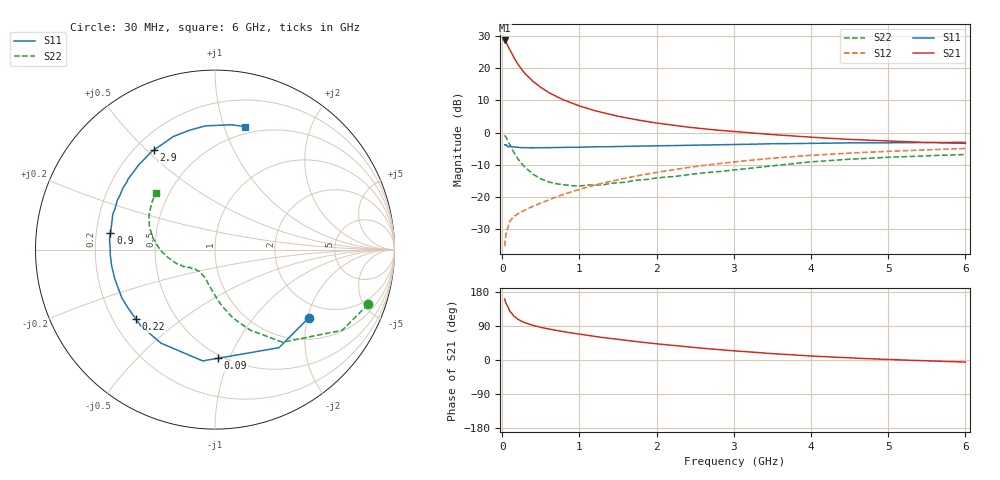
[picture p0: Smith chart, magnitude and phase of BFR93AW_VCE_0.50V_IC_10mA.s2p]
! Infineon Technologies  Discrete & RF Semiconductors
! BFR93AW
! VCE = 0.50 V,  IC =  10 mA
! Common Emitter S-Parameters:  Nov 2015
# GHz  S  MA  R  50
!  f  S11  S21  S12  S22
! GHz  MAG  ANG  MAG  ANG  MAG  ANG  MAG  ANG
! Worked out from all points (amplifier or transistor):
!   206 points, 30 MHz to 6 GHz, reference 50 ohm
!   highest |S21| = 28.5 dB at 30 MHz (marker M1)
!   |S21| within 3 dB of that: start of sweep to 101.7 MHz
!   unconditionally stable (mu >= 1): 640.6 MHz to 3.153 GHz; 5.615 GHz to end of sweep
!   at 200 MHz: K = 0.51, MSG = 23.2 dB, |S12| = -25.2 dB
!   at 1.56 GHz: K = 1.10, MAG = 7.6 dB, |S12| = -14.3 dB
!   at 6 GHz: K = 1.00, MAG = 0.5 dB, |S12| = -4.9 dB
!   S11 on the Smith chart (normalised r, x): 30 MHz: 1.57, -2.04; 90 MHz: 0.48, -0.91; 220 MHz: 0.29, -0.35; 900 MHz: 0.26, +0.08; 2.9 GHz: 0.27, +0.53; 6 GHz: 0.43, +1.17
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0.03  0.646 -36.0  26.64 160.9  0.0174 71.5  0.9062 -19.7
0.05  0.6524 -56.9  24.87 148.4  0.0274 64.8  0.839 -32.4
0.09  0.6056 -88.4  19.95 132.8  0.0394 54.1  0.6699 -48.6
0.1  0.6239 -96.3  19.02 127.8  0.0426 52.4  0.6387 -53.9
0.15  0.6019 -120.0  14.46 115.5  0.0501 46.8  0.4894 -66.4
0.2  0.5927 -134.3  11.55 107.6  0.055 45.0  0.3951 -75.2
0.22  0.5866 -138.7  10.71 105.6  0.0568 45.1  0.3677 -77.5
0.26  0.5834 -146.7  9.196 101.1  0.0603 45.4  0.3192 -82.5
0.3  0.5849 -152.5  8.055 97.6  0.0638 46.3  0.2851 -86.5
0.4  0.5814 -163.4  6.15 91.1  0.0723 49.0  0.2252 -94.5
0.5  0.5828 -171.0  4.978 85.9  0.0811 51.5  0.1915 -101.8
0.6  0.5839 -176.4  4.18 81.8  0.0902 53.7  0.172 -107.1
0.7  0.585 178.5  3.617 77.9  0.1006 55.3  0.1611 -112.5
0.9  0.5899 170.8  2.849 71.2  0.1213 57.4  0.1504 -122.0
1.04  0.5934 165.9  2.492 66.9  0.1362 58.0  0.1508 -127.9
1.5  0.61 153.3  1.787 54.3  0.1861 58.0  0.1675 -141.2
2.02  0.6243 140.2  1.391 42.2  0.2439 55.0  0.1995 -151.7
2.9  0.6504 121.6  1.06 25.9  0.3403 47.2  0.2551 -168.1
3.1  0.6547 117.7  1.013 22.8  0.3604 45.1  0.2706 -172.0
4.1  0.6816 100.3  0.833 9.6  0.4511 33.7  0.3578 167.7
5.1  0.6942 86.7  0.73 0.6  0.5174 22.7  0.4176 151.0
6  0.7041 76.5  0.68 -5.5  0.5665 13.7  0.4578 136.3
